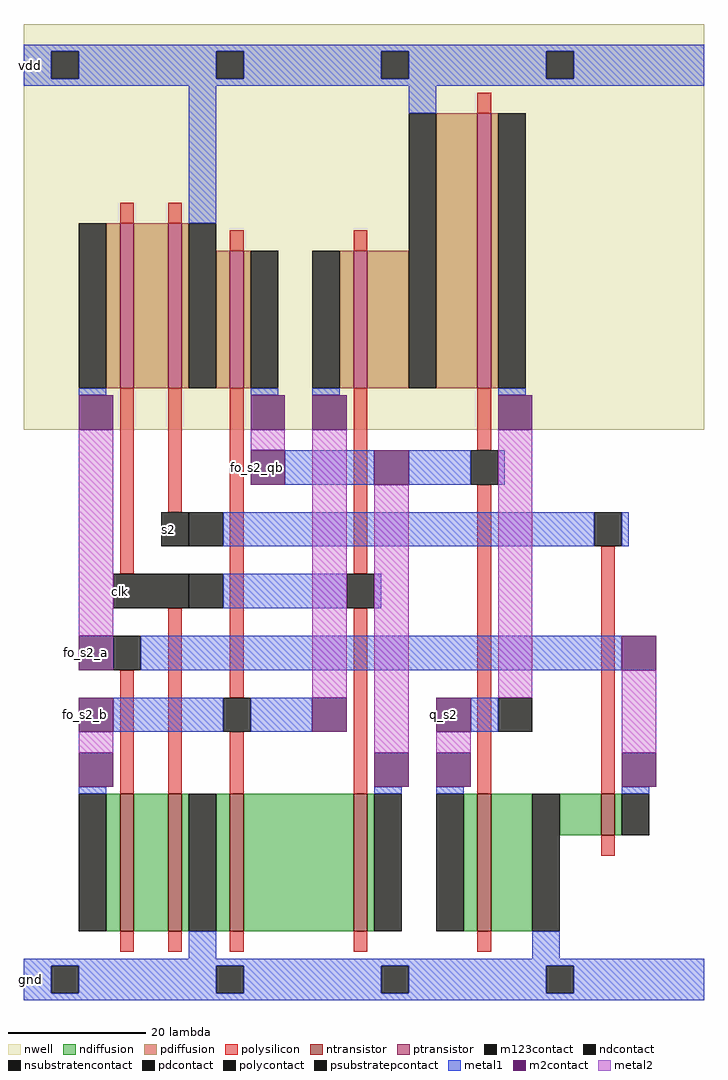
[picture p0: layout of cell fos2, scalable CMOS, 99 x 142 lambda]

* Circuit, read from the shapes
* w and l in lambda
.subckt fos2 clk q_s2 s2 vdd gnd
M1 n1 fo_s2_a fo_s2_b gnd nfet w=20 l=2
M2 gnd clk n1 gnd nfet w=20 l=2
M3 n2 fo_s2_b gnd gnd nfet w=20 l=2
M4 fo_s2_qb clk n2 gnd nfet w=20 l=2
M5 gnd fo_s2_qb q_s2 gnd nfet w=20 l=2
M6 fo_s2_a s2 gnd gnd nfet w=6 l=2
M7 n3 clk fo_s2_a vdd pfet w=24 l=2
M8 vdd s2 n3 vdd pfet w=24 l=2
M9 fo_s2_qb fo_s2_b vdd vdd pfet w=20 l=2
M10 vdd clk fo_s2_b vdd pfet w=20 l=2
M11 q_s2 fo_s2_qb vdd vdd pfet w=40 l=2
.ends

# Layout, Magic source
magic
tech scmos
<< nwell >>
rect 0 83 99 142
<< ntransistor >>
rect 14 10 16 30
rect 21 10 23 30
rect 30 10 32 30
rect 48 10 50 30
rect 66 10 68 30
rect 84 24 86 30
<< ptransistor >>
rect 14 89 16 113
rect 21 89 23 113
rect 30 89 32 109
rect 48 89 50 109
rect 66 89 68 129
<< ndiffusion >>
rect 12 10 14 30
rect 16 10 21 30
rect 23 10 24 30
rect 28 10 30 30
rect 32 10 48 30
rect 50 10 51 30
rect 64 10 66 30
rect 68 10 74 30
rect 78 24 84 30
rect 86 24 87 30
<< pdiffusion >>
rect 12 89 14 113
rect 16 89 21 113
rect 23 89 24 113
rect 28 89 30 109
rect 32 89 33 109
rect 46 89 48 109
rect 50 89 56 109
rect 60 89 66 129
rect 68 89 69 129
<< ndcontact >>
rect 8 10 12 30
rect 24 10 28 30
rect 51 10 55 30
rect 60 10 64 30
rect 74 10 78 30
rect 87 24 91 30
<< pdcontact >>
rect 8 89 12 113
rect 24 89 28 113
rect 33 89 37 109
rect 42 89 46 109
rect 56 89 60 129
rect 69 89 73 129
<< psubstratepcontact >>
rect 4 1 8 5
rect 28 1 32 5
rect 52 1 56 5
rect 76 1 80 5
<< nsubstratencontact >>
rect 4 134 8 138
rect 28 134 32 138
rect 52 134 56 138
rect 76 134 80 138
<< polysilicon >>
rect 66 129 68 132
rect 14 113 16 116
rect 21 113 23 116
rect 30 109 32 112
rect 48 109 50 112
rect 14 62 16 89
rect 21 71 23 89
rect 14 30 16 48
rect 21 30 23 57
rect 30 44 32 89
rect 48 62 50 89
rect 66 80 68 89
rect 30 30 32 39
rect 48 30 50 57
rect 66 30 68 75
rect 84 30 86 66
rect 84 21 86 24
rect 14 7 16 10
rect 21 7 23 10
rect 30 7 32 10
rect 48 7 50 10
rect 66 7 68 10
<< polycontact >>
rect 20 66 24 71
rect 13 57 24 62
rect 13 48 17 53
rect 65 75 69 80
rect 47 57 51 62
rect 29 39 33 44
rect 83 66 87 71
<< metal1 >>
rect 0 138 99 139
rect 0 134 4 138
rect 8 134 28 138
rect 32 134 52 138
rect 56 134 76 138
rect 80 134 99 138
rect 0 133 99 134
rect 24 113 28 133
rect 56 129 60 133
rect 8 88 12 89
rect 33 88 37 89
rect 42 88 46 89
rect 69 88 73 89
rect 38 75 51 80
rect 56 75 65 80
rect 69 75 70 80
rect 29 66 83 71
rect 87 66 88 71
rect 29 57 47 62
rect 51 57 52 62
rect 17 48 87 53
rect 13 39 29 44
rect 33 39 42 44
rect 65 39 69 44
rect 8 30 12 31
rect 51 30 55 31
rect 60 30 64 31
rect 87 30 91 31
rect 24 6 28 10
rect 74 6 78 10
rect 0 5 99 6
rect 0 1 4 5
rect 8 1 28 5
rect 32 1 52 5
rect 56 1 76 5
rect 80 1 99 5
rect 0 0 99 1
<< m2contact >>
rect 8 83 13 88
rect 33 83 38 88
rect 42 83 47 88
rect 69 83 74 88
rect 33 75 38 80
rect 51 75 56 80
rect 8 48 13 53
rect 87 48 92 53
rect 8 39 13 44
rect 42 39 47 44
rect 60 39 65 44
rect 8 31 13 36
rect 51 31 56 36
rect 60 31 65 36
rect 87 31 92 36
<< metal2 >>
rect 8 53 13 83
rect 33 80 38 83
rect 42 44 47 83
rect 8 36 13 39
rect 51 36 56 75
rect 69 44 74 83
rect 60 36 65 39
rect 87 36 92 48
<< m123contact >>
rect 24 66 29 71
rect 24 57 29 62
rect 69 39 74 44
<< labels >>
rlabel metal1 13 57 15 62 0 clk
port 1 nsew
rlabel m2contact 60 39 62 44 0 q_s2
port 2 nsew
rlabel metal1 20 66 22 71 0 s2
port 3 nsew
rlabel m2contact 8 48 10 53 0 fo_s2_a
rlabel m2contact 8 39 10 44 0 fo_s2_b
rlabel m2contact 33 75 35 80 0 fo_s2_qb
rlabel metal1 0 133 2 139 0 vdd
port 4 nsew
rlabel metal1 0 0 2 6 0 gnd
port 5 nsew
<< end >>
